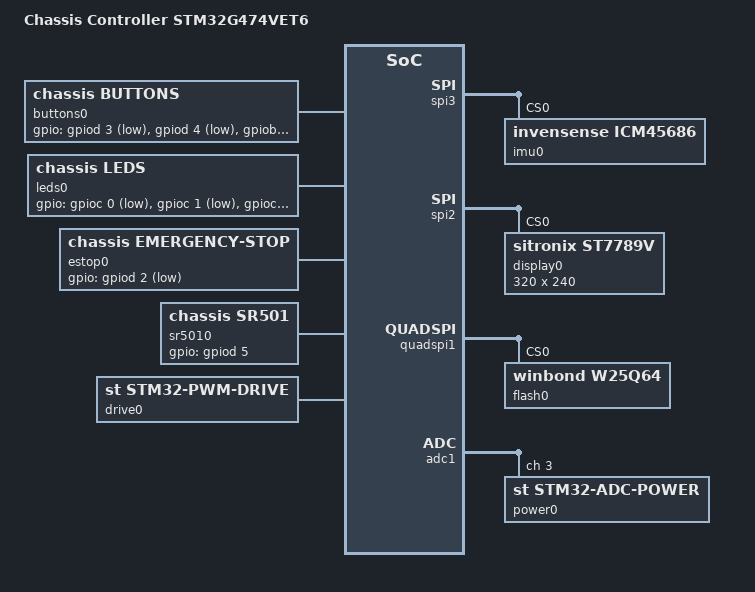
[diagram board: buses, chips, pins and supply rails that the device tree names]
/dts-v1/;

/ {
    model = "Chassis Controller STM32G474VET6";
    compatible = "shanjiancaofu,chassis-g474";

    chosen {
        chassis,can = <&can0>;
        chassis,imu = <&imu0>;
        chassis,display = <&display0>;
        chassis,flash = <&flash0>;
        chassis,drive = <&drive0>;
        chassis,uart = <&uart0>;
        chassis,watchdog = <&watchdog0>;
        chassis,rtc = <&rtc0>;
        chassis,time = <&time0>;
        chassis,left-encoder = <&left_encoder>;
        chassis,right-encoder = <&right_encoder>;
        chassis,power = <&power0>;
        chassis,buttons = <&buttons0>;
        chassis,leds = <&leds0>;
        chassis,sr501 = <&sr5010>;
        chassis,estop = <&estop0>;
    };

    aliases {
        can = &can0;
        imu = &imu0;
        display = &display0;
        flash = &flash0;
        drive = &drive0;
        left-encoder = &left_encoder;
        right-encoder = &right_encoder;
    };

    gpioa: gpio-a { chassis,device-id = "gpioa"; compatible = "st,stm32-gpio-port"; status = "okay"; gpio-controller; #gpio-cells = <2>; };
    gpiob: gpio-b { chassis,device-id = "gpiob"; compatible = "st,stm32-gpio-port"; status = "okay"; gpio-controller; #gpio-cells = <2>; };
    gpioc: gpio-c { chassis,device-id = "gpioc"; compatible = "st,stm32-gpio-port"; status = "okay"; gpio-controller; #gpio-cells = <2>; };
    gpiod: gpio-d { chassis,device-id = "gpiod"; compatible = "st,stm32-gpio-port"; status = "okay"; gpio-controller; #gpio-cells = <2>; };

    buttons0: buttons { chassis,device-id = "buttons0"; compatible = "chassis,buttons"; status = "okay"; gpios = <&gpiod 3 1 &gpiod 4 1 &gpiob 8 0>; };
    leds0: leds { chassis,device-id = "leds0"; compatible = "chassis,leds"; status = "okay"; gpios = <&gpioc 0 1 &gpioc 1 1 &gpioc 2 1>; };
    estop0: emergency-stop { chassis,device-id = "estop0"; compatible = "chassis,emergency-stop"; status = "okay"; gpios = <&gpiod 2 1>; };
    sr5010: motion-sensor { chassis,device-id = "sr5010"; compatible = "chassis,sr501"; status = "okay"; gpios = <&gpiod 5 0>; };

    can0: fdcan2 {
        chassis,device-id = "can0";
        compatible = "st,stm32g4-fdcan";
        status = "okay";
        bitrate = <500000>;
        sample-point = <800>;
        bitrate-data = <2000000>;
        sample-point-data = <824>;
        standard-filter-count = <2>;
    };

    spi3 {
        #address-cells = <1>;
        #size-cells = <0>;

        imu0: sensor@0 {
            chassis,device-id = "imu0";
            compatible = "invensense,icm45686";
            status = "okay";
            reg = <0>;
            frequency = <1328125>;
        };
    };

    spi2 {
        #address-cells = <1>;
        #size-cells = <0>;

        display0: display@0 {
            chassis,device-id = "display0";
            compatible = "sitronix,st7789v";
            status = "okay";
            reg = <0>;
            width = <320>;
            height = <240>;
        };
    };

    quadspi1 {
        #address-cells = <1>;
        #size-cells = <0>;

        flash0: flash@0 {
            chassis,device-id = "flash0";
            compatible = "winbond,w25q64";
            status = "okay";
            reg = <0>;
            size = <0x00800000>;
            erase-block-size = <4096>;
            write-block-size = <256>;
        };
    };

    drive0: tim8-motor-controller {
        chassis,device-id = "drive0";
        compatible = "st,stm32-pwm-drive";
        status = "okay";
        pwm-period = <8499>;
    };

    uart0: usart1 {
        chassis,device-id = "uart0";
        compatible = "st,stm32-uart";
        status = "okay";
    };

    watchdog0: watchdog {
        chassis,device-id = "watchdog0";
        compatible = "st,stm32-iwdg";
        status = "okay";
    };

    rtc0: rtc {
        chassis,device-id = "rtc0";
        compatible = "st,stm32-rtc";
        status = "okay";
    };

    time0: system-time {
        chassis,device-id = "time0";
        compatible = "chassis,system-time";
        status = "okay";
    };

    left_encoder: tim2-encoder {
        chassis,device-id = "left_encoder";
        compatible = "st,stm32-tim-encoder";
        status = "okay";
    };

    right_encoder: tim4-encoder {
        chassis,device-id = "right_encoder";
        compatible = "st,stm32-tim-encoder";
        status = "okay";
    };

    adc1 {
        #address-cells = <1>;
        #size-cells = <0>;

        power0: power-monitor@3 {
            chassis,device-id = "power0";
            compatible = "st,stm32-adc-power";
            status = "okay";
            reg = <3>;
        };
    };
};
